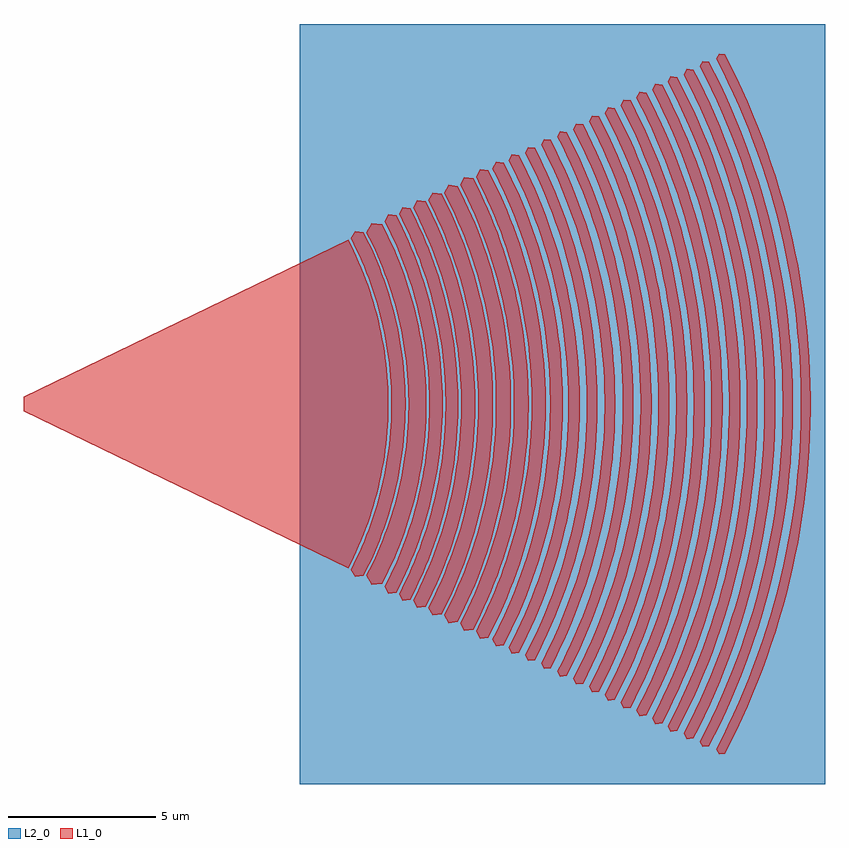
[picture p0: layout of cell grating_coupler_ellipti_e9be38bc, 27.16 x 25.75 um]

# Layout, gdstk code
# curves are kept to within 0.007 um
import gdstk
lib = gdstk.Library(unit=1e-6, precision=1e-09)
def R(c, l, rs):  # rectangles x0, y0, x1, y1
    for r in rs: c.add(gdstk.rectangle(r[:2], r[2:], *l))
def P(c, l, *ps):  # polygons
    for p in ps: c.add(gdstk.Polygon(p, *l))
L1_0 = (1, 0)
L2_0 = (2, 0)

grating_coupler_ellipti_ = lib.new_cell('grating_coupler_ellipti_e9be38bc')
P(grating_coupler_ellipti_, L1_0, [(11.468,-5.86),(11.327,-5.608),(11.517,-5.228),(11.693,-4.842),(12.004,-4.053),(12.259,-3.245),(12.412,-2.628),(12.533,-2.005),(12.622,-1.375),(12.677,-0.742),(12.7,-0.106),(12.688,0.529),(12.644,1.164),(12.567,1.795),(12.456,2.421),(12.365,2.835),(12.259,3.245),(12.004,4.053),(11.693,4.842),(11.517,5.228),(11.327,5.608),(11.468,5.86),(11.755,5.826),(11.951,5.434),(12.219,4.83),(12.456,4.213),(12.66,3.585),(12.778,3.16),(12.88,2.732),(12.969,2.3),(13.041,1.865),(13.098,1.429),(13.141,0.99),(13.168,0.551),(13.18,0.11),(13.176,-0.331),(13.157,-0.77),(13.122,-1.21),(13.072,-1.647),(13.007,-2.083),(12.926,-2.517),(12.831,-2.947),(12.721,-3.373),(12.528,-4.005),(12.381,-4.42),(12.133,-5.032),(11.854,-5.632),(11.755,-5.826)],
  [(12.035,-6.124),(11.857,-5.806),(12.054,-5.411),(12.236,-5.012),(12.404,-4.607),(12.558,-4.196),(12.698,-3.779),(12.823,-3.359),(13.028,-2.505),(13.142,-1.858),(13.222,-1.205),(13.268,-0.548),(13.28,-0.109),(13.268,0.548),(13.222,1.205),(13.142,1.858),(13.028,2.505),(12.823,3.359),(12.698,3.779),(12.558,4.196),(12.404,4.607),(12.236,5.012),(12.054,5.411),(11.857,5.806),(12.035,6.124),(12.397,6.082),(12.602,5.673),(12.882,5.042),(13.051,4.615),(13.276,3.963),(13.467,3.299),(13.574,2.852),(13.666,2.401),(13.742,1.948),(13.803,1.491),(13.847,1.034),(13.874,0.574),(13.886,0.115),(13.882,-0.345),(13.847,-1.034),(13.803,-1.491),(13.742,-1.948),(13.666,-2.401),(13.574,-2.852),(13.467,-3.299),(13.344,-3.742),(13.13,-4.398),(12.882,-5.042),(12.602,-5.673),(12.397,-6.082)],
  [(12.601,-6.421),(12.47,-6.185),(12.68,-5.766),(12.874,-5.341),(13.054,-4.908),(13.217,-4.471),(13.366,-4.027),(13.499,-3.579),(13.669,-2.898),(13.803,-2.211),(13.9,-1.516),(13.962,-0.817),(13.986,-0.117),(13.974,0.585),(13.925,1.283),(13.839,1.98),(13.718,2.67),(13.616,3.126),(13.499,3.579),(13.366,4.027),(13.217,4.471),(13.054,4.908),(12.874,5.341),(12.68,5.766),(12.47,6.185),(12.601,6.421),(12.87,6.391),(12.98,6.177),(13.189,5.74),(13.472,5.074),(13.72,4.393),(13.866,3.932),(13.995,3.466),(14.109,2.996),(14.205,2.523),(14.285,2.046),(14.348,1.568),(14.394,1.086),(14.424,0.603),(14.436,0.121),(14.432,-0.362),(14.412,-0.845),(14.373,-1.327),(14.318,-1.806),(14.247,-2.285),(14.158,-2.76),(14.054,-3.232),(13.933,-3.699),(13.796,-4.163),(13.559,-4.848),(13.286,-5.519),(12.98,-6.177),(12.87,-6.391)],
  [(13.086,-6.667),(12.96,-6.443),(13.178,-6.005),(13.38,-5.562),(13.654,-4.885),(13.817,-4.426),(13.962,-3.962),(14.092,-3.492),(14.207,-3.019),(14.345,-2.303),(14.447,-1.579),(14.511,-0.852),(14.536,-0.122),(14.524,0.609),(14.473,1.336),(14.384,2.061),(14.303,2.542),(14.207,3.019),(14.092,3.492),(13.962,3.962),(13.817,4.426),(13.654,4.885),(13.38,5.562),(13.178,6.005),(12.96,6.443),(13.086,6.667),(13.34,6.637),(13.564,6.189),(13.772,5.732),(14.054,5.035),(14.299,4.323),(14.441,3.842),(14.567,3.356),(14.675,2.866),(14.767,2.373),(14.841,1.877),(14.92,1.128),(14.95,0.627),(14.964,0.126),(14.959,-0.377),(14.937,-0.878),(14.897,-1.378),(14.841,-1.877),(14.767,-2.373),(14.675,-2.866),(14.567,-3.356),(14.441,-3.842),(14.299,-4.323),(14.054,-5.035),(13.772,-5.732),(13.564,-6.189),(13.34,-6.637)],
  [(13.576,-6.9),(13.436,-6.651),(13.661,-6.199),(13.87,-5.742),(14.152,-5.043),(14.32,-4.569),(14.471,-4.089),(14.606,-3.605),(14.723,-3.117),(14.866,-2.377),(14.972,-1.63),(15.037,-0.88),(15.063,-0.126),(15.059,0.377),(15.037,0.88),(14.972,1.63),(14.866,2.377),(14.723,3.117),(14.606,3.605),(14.471,4.089),(14.32,4.569),(14.152,5.043),(13.87,5.742),(13.661,6.199),(13.436,6.651),(13.576,6.9),(13.86,6.867),(13.977,6.637),(14.201,6.169),(14.505,5.452),(14.772,4.721),(14.927,4.225),(15.066,3.725),(15.187,3.219),(15.291,2.711),(15.376,2.199),(15.444,1.684),(15.494,1.167),(15.526,0.648),(15.539,0.13),(15.535,-0.389),(15.513,-0.908),(15.472,-1.426),(15.413,-1.942),(15.336,-2.455),(15.241,-2.966),(15.129,-3.472),(14.999,-3.976),(14.772,-4.721),(14.598,-5.209),(14.408,-5.693),(14.091,-6.405),(13.86,-6.867)],
  [(14.1,-7.158),(13.952,-6.894),(14.296,-6.191),(14.504,-5.713),(14.695,-5.228),(14.868,-4.737),(15.025,-4.24),(15.165,-3.738),(15.286,-3.231),(15.435,-2.463),(15.544,-1.689),(15.612,-0.912),(15.64,-0.13),(15.626,0.651),(15.572,1.431),(15.476,2.206),(15.34,2.976),(15.227,3.485),(15.097,3.99),(14.949,4.49),(14.784,4.983),(14.601,5.471),(14.401,5.953),(14.186,6.427),(13.952,6.894),(14.1,7.158),(14.4,7.124),(14.522,6.885),(14.754,6.399),(15.069,5.655),(15.346,4.897),(15.507,4.382),(15.651,3.864),(15.778,3.341),(15.884,2.812),(15.974,2.282),(16.044,1.747),(16.096,1.21),(16.128,0.673),(16.142,0.134),(16.137,-0.404),(16.114,-0.942),(16.072,-1.479),(16.011,-2.014),(15.931,-2.547),(15.834,-3.076),(15.717,-3.603),(15.581,-4.124),(15.346,-4.897),(15.069,-5.655),(14.754,-6.399),(14.522,-6.885),(14.4,-7.124)],
  [(14.639,-7.419),(14.489,-7.152),(14.732,-6.667),(14.956,-6.175),(15.164,-5.676),(15.354,-5.169),(15.605,-4.398),(15.749,-3.877),(15.875,-3.352),(16.031,-2.556),(16.144,-1.753),(16.214,-0.945),(16.242,-0.135),(16.228,0.676),(16.195,1.215),(16.144,1.753),(16.031,2.556),(15.875,3.352),(15.749,3.877),(15.605,4.398),(15.354,5.169),(15.164,5.676),(14.956,6.175),(14.732,6.667),(14.489,7.152),(14.639,7.419),(14.943,7.384),(15.069,7.137),(15.424,6.379),(15.638,5.862),(15.925,5.076),(16.093,4.544),(16.243,4.005),(16.373,3.462),(16.485,2.916),(16.577,2.365),(16.65,1.811),(16.703,1.255),(16.738,0.698),(16.752,0.139),(16.748,-0.418),(16.724,-0.977),(16.679,-1.533),(16.616,-2.088),(16.533,-2.64),(16.431,-3.189),(16.31,-3.734),(16.171,-4.275),(15.925,-5.076),(15.738,-5.602),(15.534,-6.122),(15.192,-6.887),(14.943,-7.384)],
  [(15.177,-7.684),(15.032,-7.424),(15.284,-6.92),(15.517,-6.411),(15.732,-5.891),(15.929,-5.366),(16.19,-4.566),(16.34,-4.025),(16.471,-3.479),(16.632,-2.653),(16.75,-1.82),(16.823,-0.981),(16.852,-0.14),(16.837,0.702),(16.779,1.54),(16.676,2.377),(16.53,3.205),(16.408,3.752),(16.267,4.296),(16.108,4.833),(15.929,5.366),(15.732,5.891),(15.517,6.411),(15.284,6.92),(15.032,7.424),(15.177,7.684),(15.472,7.65),(15.603,7.393),(15.853,6.872),(16.192,6.073),(16.395,5.532),(16.664,4.706),(16.818,4.149),(16.953,3.587),(17.069,3.02),(17.164,2.449),(17.24,1.876),(17.296,1.301),(17.331,0.722),(17.346,0.144),(17.341,-0.433),(17.317,-1.011),(17.271,-1.588),(17.205,-2.164),(17.12,-2.735),(17.014,-3.303),(16.888,-3.868),(16.743,-4.428),(16.489,-5.257),(16.295,-5.803),(15.971,-6.607),(15.73,-7.134),(15.472,-7.65)],
  [(15.707,-7.945),(15.568,-7.696),(15.829,-7.174),(16.071,-6.645),(16.294,-6.107),(16.498,-5.563),(16.768,-4.732),(16.924,-4.173),(17.06,-3.607),(17.226,-2.751),(17.348,-1.886),(17.423,-1.018),(17.454,-0.145),(17.439,0.727),(17.404,1.308),(17.348,1.886),(17.226,2.751),(17.06,3.607),(16.924,4.173),(16.768,4.732),(16.498,5.563),(16.294,6.107),(16.071,6.645),(15.829,7.174),(15.568,7.696),(15.707,7.945),(15.99,7.912),(16.257,7.378),(16.505,6.835),(16.842,6.002),(17.042,5.438),(17.304,4.581),(17.454,4.001),(17.584,3.417),(17.694,2.829),(17.782,2.237),(17.85,1.643),(17.897,1.046),(17.928,0.149),(17.923,-0.448),(17.897,-1.046),(17.85,-1.643),(17.782,-2.237),(17.694,-2.829),(17.584,-3.417),(17.454,-4.001),(17.304,-4.581),(17.042,-5.438),(16.842,-6.002),(16.505,-6.835),(16.257,-7.378),(15.99,-7.912)],
  [(16.251,-8.2),(16.124,-7.972),(16.395,-7.432),(16.645,-6.884),(16.876,-6.327),(17.087,-5.763),(17.278,-5.191),(17.45,-4.613),(17.669,-3.736),(17.841,-2.849),(17.968,-1.955),(18.047,-1.054),(18.078,-0.151),(18.063,0.753),(18,1.654),(17.889,2.552),(17.789,3.146),(17.669,3.736),(17.45,4.613),(17.278,5.191),(17.087,5.763),(16.876,6.327),(16.645,6.884),(16.395,7.432),(16.124,7.972),(16.251,8.2),(16.51,8.17),(16.916,7.339),(17.163,6.772),(17.39,6.197),(17.692,5.321),(17.868,4.729),(18.023,4.131),(18.156,3.528),(18.269,2.921),(18.361,2.31),(18.458,1.388),(18.495,0.771),(18.512,0.155),(18.505,-0.464),(18.479,-1.08),(18.43,-1.696),(18.361,-2.31),(18.269,-2.921),(18.156,-3.528),(18.023,-4.131),(17.868,-4.729),(17.692,-5.321),(17.39,-6.197),(17.163,-6.772),(16.916,-7.339),(16.51,-8.17)],
  [(16.786,-8.455),(16.673,-8.252),(16.952,-7.693),(17.212,-7.125),(17.563,-6.258),(17.867,-5.373),(18.045,-4.775),(18.202,-4.172),(18.396,-3.257),(18.543,-2.333),(18.613,-1.712),(18.663,-1.091),(18.696,-0.156),(18.69,0.468),(18.663,1.091),(18.581,2.023),(18.45,2.949),(18.272,3.867),(18.045,4.775),(17.867,5.373),(17.67,5.965),(17.45,6.549),(17.212,7.125),(16.952,7.693),(16.673,8.252),(16.786,8.455),(17.017,8.428),(17.436,7.57),(17.691,6.986),(17.925,6.394),(18.237,5.489),(18.417,4.879),(18.578,4.262),(18.716,3.639),(18.832,3.013),(18.927,2.383),(19.027,1.432),(19.065,0.796),(19.082,0.16),(19.076,-0.478),(19.049,-1.115),(18.999,-1.75),(18.927,-2.383),(18.832,-3.013),(18.716,-3.639),(18.5,-4.571),(18.33,-5.185),(18.138,-5.792),(17.925,-6.394),(17.566,-7.279),(17.302,-7.859),(17.017,-8.428)],
  [(17.337,-8.703),(17.232,-8.514),(17.656,-7.645),(17.913,-7.055),(18.149,-6.456),(18.464,-5.544),(18.648,-4.927),(18.809,-4.304),(19.01,-3.359),(19.161,-2.406),(19.263,-1.447),(19.301,-0.804),(19.318,-0.161),(19.301,0.804),(19.234,1.767),(19.116,2.725),(19.01,3.359),(18.881,3.99),(18.731,4.616),(18.558,5.236),(18.364,5.85),(18.149,6.456),(17.787,7.351),(17.52,7.936),(17.232,8.514),(17.337,8.703),(17.552,8.678),(17.984,7.795),(18.245,7.193),(18.487,6.582),(18.808,5.652),(18.994,5.023),(19.233,4.068),(19.364,3.425),(19.472,2.779),(19.558,2.127),(19.621,1.475),(19.661,0.82),(19.678,0.163),(19.673,-0.492),(19.644,-1.147),(19.558,-2.127),(19.472,-2.779),(19.364,-3.425),(19.233,-4.068),(19.079,-4.706),(18.904,-5.338),(18.706,-5.964),(18.487,-6.582),(18.117,-7.495),(17.844,-8.092),(17.552,-8.678)],
  [(17.878,-8.971),(17.772,-8.784),(18.069,-8.188),(18.345,-7.583),(18.717,-6.66),(19.041,-5.719),(19.23,-5.082),(19.397,-4.44),(19.604,-3.466),(19.76,-2.483),(19.864,-1.492),(19.904,-0.829),(19.921,-0.166),(19.904,0.829),(19.835,1.823),(19.76,2.483),(19.661,3.14),(19.471,4.116),(19.23,5.082),(19.041,5.719),(18.831,6.348),(18.598,6.971),(18.345,7.583),(18.069,8.188),(17.772,8.784),(17.878,8.971),(18.092,8.946),(18.393,8.342),(18.673,7.727),(18.932,7.101),(19.169,6.468),(19.383,5.827),(19.576,5.178),(19.821,4.194),(19.956,3.532),(20.067,2.864),(20.156,2.193),(20.22,1.52),(20.262,0.845),(20.279,0.17),(20.262,-0.845),(20.22,-1.52),(20.156,-2.193),(20.067,-2.864),(19.956,-3.532),(19.821,-4.194),(19.662,-4.852),(19.482,-5.504),(19.279,-6.149),(19.053,-6.786),(18.673,-7.727),(18.393,-8.342),(18.092,-8.946)],
  [(18.429,-9.235),(18.326,-9.05),(18.632,-8.436),(18.916,-7.814),(19.3,-6.863),(19.529,-6.218),(19.734,-5.566),(19.917,-4.907),(20.077,-4.242),(20.272,-3.234),(20.415,-2.218),(20.505,-1.196),(20.54,-0.171),(20.523,0.854),(20.481,1.537),(20.415,2.218),(20.272,3.234),(20.077,4.242),(19.917,4.907),(19.734,5.566),(19.529,6.218),(19.3,6.863),(18.916,7.814),(18.632,8.436),(18.326,9.05),(18.429,9.235),(18.64,9.21),(19.098,8.273),(19.375,7.635),(19.63,6.987),(19.863,6.33),(20.168,5.331),(20.343,4.657),(20.494,3.977),(20.675,2.949),(20.765,2.258),(20.833,1.565),(20.875,0.87),(20.894,0.175),(20.887,-0.523),(20.857,-1.218),(20.802,-1.912),(20.723,-2.604),(20.62,-3.292),(20.494,-3.977),(20.259,-4.995),(20.072,-5.666),(19.863,-6.33),(19.506,-7.312),(19.24,-7.954),(18.95,-8.588),(18.64,-9.21)],
  [(18.969,-9.496),(18.86,-9.301),(19.022,-8.987),(19.325,-8.353),(19.605,-7.708),(19.864,-7.054),(20.208,-6.057),(20.407,-5.382),(20.583,-4.701),(20.803,-3.67),(20.969,-2.629),(21.079,-1.58),(21.122,-0.879),(21.14,-0.175),(21.122,0.879),(21.048,1.93),(20.969,2.629),(20.865,3.324),(20.662,4.36),(20.498,5.043),(20.31,5.72),(20.099,6.391),(19.864,7.054),(19.605,7.708),(19.325,8.353),(19.022,8.987),(18.86,9.301),(18.969,9.496),(19.192,9.471),(19.663,8.507),(19.949,7.85),(20.212,7.184),(20.562,6.169),(20.765,5.482),(21.026,4.44),(21.169,3.738),(21.287,3.033),(21.381,2.322),(21.449,1.61),(21.494,0.895),(21.512,0.179),(21.494,-0.895),(21.449,-1.61),(21.381,-2.322),(21.287,-3.033),(21.169,-3.738),(21.026,-4.44),(20.858,-5.137),(20.666,-5.826),(20.451,-6.509),(20.212,-7.184),(19.809,-8.18),(19.511,-8.831),(19.192,-9.471)],
  [(19.506,-9.771),(19.395,-9.573),(19.719,-8.924),(20.02,-8.266),(20.427,-7.26),(20.781,-6.234),(20.987,-5.539),(21.168,-4.84),(21.394,-3.777),(21.458,-3.422),(21.565,-2.706),(21.678,-1.626),(21.722,-0.904),(21.741,-0.181),(21.722,0.904),(21.647,1.987),(21.565,2.706),(21.458,3.422),(21.249,4.487),(21.081,5.191),(20.987,5.539),(20.781,6.234),(20.551,6.92),(20.297,7.598),(20.02,8.266),(19.719,8.924),(19.395,9.573),(19.506,9.771),(19.731,9.745),(20.061,9.088),(20.366,8.418),(20.649,7.736),(20.907,7.046),(21.141,6.348),(21.351,5.641),(21.619,4.569),(21.766,3.847),(21.888,3.12),(21.984,2.389),(22.054,1.656),(22.1,0.92),(22.119,0.185),(22.113,-0.553),(22.081,-1.289),(22.023,-2.023),(21.939,-2.756),(21.766,-3.847),(21.619,-4.569),(21.447,-5.285),(21.141,-6.348),(20.907,-7.046),(20.649,-7.736),(20.366,-8.418),(20.061,-9.088),(19.731,-9.745)],
  [(20.045,-10.05),(19.934,-9.853),(20.424,-8.847),(20.721,-8.164),(20.994,-7.471),(21.242,-6.769),(21.466,-6.059),(21.756,-4.98),(21.988,-3.888),(22.111,-3.153),(22.208,-2.415),(22.305,-1.302),(22.325,-0.931),(22.344,-0.186),(22.325,0.931),(22.279,1.674),(22.208,2.415),(22.111,3.153),(22.052,3.521),(21.988,3.888),(21.839,4.617),(21.665,5.342),(21.466,6.059),(21.242,6.769),(20.994,7.471),(20.721,8.164),(20.424,8.847),(19.934,9.853),(20.045,10.05),(20.27,10.023),(20.768,9.003),(21.069,8.308),(21.348,7.603),(21.717,6.529),(21.933,5.802),(22.122,5.068),(22.286,4.329),(22.424,3.583),(22.536,2.834),(22.655,1.704),(22.701,0.947),(22.722,0.19),(22.714,-0.568),(22.681,-1.326),(22.622,-2.081),(22.536,-2.834),(22.424,-3.583),(22.286,-4.329),(22.031,-5.436),(21.828,-6.167),(21.477,-7.247),(21.211,-7.957),(20.921,-8.657),(20.607,-9.347),(20.27,-10.023)],
  [(20.579,-10.314),(20.467,-10.115),(20.809,-9.428),(21.126,-8.733),(21.555,-7.669),(21.929,-6.586),(22.146,-5.853),(22.337,-5.113),(22.503,-4.366),(22.575,-3.991),(22.642,-3.615),(22.755,-2.858),(22.875,-1.718),(22.921,-0.956),(22.941,-0.191),(22.921,0.956),(22.875,1.718),(22.801,2.48),(22.642,3.615),(22.503,4.366),(22.423,4.74),(22.146,5.853),(21.929,6.586),(21.686,7.311),(21.418,8.026),(21.126,8.733),(20.809,9.428),(20.467,10.115),(20.579,10.314),(20.805,10.287),(21.151,9.592),(21.474,8.885),(21.772,8.166),(22.044,7.437),(22.291,6.7),(22.512,5.955),(22.707,5.201),(22.875,4.442),(23.077,3.293),(23.179,2.522),(23.253,1.748),(23.301,0.972),(23.321,0.195),(23.314,-0.583),(23.281,-1.361),(23.179,-2.522),(23.077,-3.293),(22.949,-4.061),(22.793,-4.822),(22.612,-5.579),(22.512,-5.955),(22.291,-6.7),(22.044,-7.437),(21.772,-8.166),(21.474,-8.885),(21.151,-9.592),(20.805,-10.287)],
  [(21.108,-10.577),(20.997,-10.378),(21.349,-9.674),(21.674,-8.96),(22.115,-7.869),(22.378,-7.131),(22.614,-6.382),(22.919,-5.246),(23.164,-4.095),(23.233,-3.709),(23.349,-2.933),(23.472,-1.763),(23.519,-0.98),(23.54,-0.196),(23.533,0.588),(23.499,1.371),(23.472,1.763),(23.396,2.544),(23.349,2.933),(23.233,3.709),(23.007,4.864),(22.824,5.626),(22.614,6.382),(22.378,7.131),(22.25,7.501),(21.974,8.235),(21.674,8.96),(21.349,9.674),(20.997,10.378),(21.108,10.577),(21.335,10.55),(21.691,9.838),(22.022,9.112),(22.328,8.375),(22.608,7.629),(22.861,6.871),(23.088,6.107),(23.192,5.722),(23.379,4.946),(23.538,4.165),(23.67,3.378),(23.774,2.586),(23.85,1.793),(23.899,0.996),(23.92,0.2),(23.913,-0.598),(23.879,-1.395),(23.774,-2.586),(23.67,-3.378),(23.538,-4.165),(23.379,-4.946),(23.192,-5.722),(22.978,-6.49),(22.608,-7.629),(22.328,-8.375),(22.022,-9.112),(21.691,-9.838),(21.335,-10.55)],
  [(21.646,-10.843),(21.533,-10.642),(21.717,-10.282),(22.063,-9.556),(22.384,-8.819),(22.679,-8.07),(22.947,-7.311),(23.189,-6.545),(23.502,-5.379),(23.592,-4.988),(23.752,-4.199),(23.822,-3.803),(23.941,-3.008),(24.032,-2.209),(24.067,-1.808),(24.116,-1.004),(24.138,-0.201),(24.131,0.603),(24.116,1.004),(24.067,1.808),(24.032,2.209),(23.941,3.008),(23.885,3.406),(23.752,4.199),(23.592,4.988),(23.404,5.769),(23.189,6.545),(22.947,7.311),(22.679,8.07),(22.384,8.819),(22.063,9.556),(21.717,10.282),(21.533,10.642),(21.646,10.843),(21.875,10.816),(22.239,10.085),(22.578,9.342),(22.891,8.586),(23.178,7.82),(23.437,7.045),(23.669,6.26),(23.874,5.469),(24.051,4.67),(24.2,3.867),(24.321,3.058),(24.414,2.245),(24.449,1.838),(24.498,1.022),(24.52,0.205),(24.513,-0.613),(24.477,-1.43),(24.414,-2.245),(24.321,-3.058),(24.2,-3.867),(24.051,-4.67),(23.874,-5.469),(23.774,-5.865),(23.557,-6.653),(23.178,-7.82),(22.891,-8.586),(22.578,-9.342),(22.239,-10.085),(21.875,-10.816)],
  [(22.171,-11.101),(22.064,-10.91),(22.434,-10.17),(22.608,-9.797),(22.937,-9.041),(23.241,-8.274),(23.515,-7.496),(23.765,-6.71),(23.879,-6.313),(24.085,-5.515),(24.178,-5.114),(24.343,-4.306),(24.537,-3.084),(24.63,-2.265),(24.695,-1.442),(24.731,-0.618),(24.738,-0.206),(24.731,0.618),(24.695,1.442),(24.63,2.265),(24.587,2.674),(24.537,3.084),(24.414,3.899),(24.343,4.306),(24.178,5.114),(23.985,5.915),(23.765,6.71),(23.515,7.496),(23.241,8.274),(22.937,9.041),(22.608,9.797),(22.434,10.17),(22.064,10.91),(22.171,11.101),(22.388,11.076),(22.762,10.328),(23.11,9.566),(23.43,8.793),(23.725,8.008),(23.991,7.214),(24.229,6.411),(24.439,5.601),(24.534,5.192),(24.701,4.372),(24.839,3.546),(24.949,2.716),(25.028,1.882),(25.08,1.046),(25.102,0.21),(25.095,-0.628),(25.059,-1.464),(24.949,-2.716),(24.839,-3.546),(24.701,-4.372),(24.534,-5.192),(24.337,-6.007),(24.229,-6.411),(23.991,-7.214),(23.725,-8.008),(23.43,-8.793),(23.11,-9.566),(22.762,-10.328),(22.388,-11.076)],
  [(22.713,-11.349),(22.605,-11.156),(22.983,-10.401),(23.161,-10.019),(23.498,-9.246),(23.808,-8.46),(24.09,-7.666),(24.344,-6.862),(24.569,-6.049),(24.671,-5.64),(24.766,-5.229),(24.935,-4.402),(25.009,-3.988),(25.133,-3.153),(25.229,-2.315),(25.266,-1.895),(25.317,-1.054),(25.339,-0.21),(25.332,0.632),(25.317,1.054),(25.266,1.895),(25.229,2.315),(25.133,3.153),(25.009,3.988),(24.766,5.229),(24.569,6.049),(24.344,6.862),(24.09,7.666),(23.808,8.46),(23.498,9.246),(23.161,10.019),(22.983,10.401),(22.605,11.156),(22.713,11.349),(22.933,11.324),(23.315,10.559),(23.671,9.781),(23.998,8.99),(24.298,8.187),(24.57,7.375),(24.814,6.554),(24.925,6.141),(25.126,5.309),(25.297,4.47),(25.438,3.625),(25.55,2.777),(25.632,1.925),(25.685,1.07),(25.707,0.214),(25.7,-0.642),(25.663,-1.497),(25.595,-2.351),(25.55,-2.777),(25.438,-3.625),(25.297,-4.47),(25.126,-5.309),(24.925,-6.141),(24.696,-6.966),(24.438,-7.782),(24.152,-8.59),(23.671,-9.781),(23.315,-10.559),(22.933,-11.324)],
  [(23.254,-11.618),(23.153,-11.438),(23.54,-10.663),(23.724,-10.27),(24.068,-9.478),(24.386,-8.674),(24.534,-8.268),(24.809,-7.447),(25.054,-6.619),(25.272,-5.782),(25.369,-5.361),(25.542,-4.514),(25.685,-3.661),(25.797,-2.803),(25.881,-1.944),(25.91,-1.513),(25.933,-1.08),(25.956,-0.216),(25.956,0.216),(25.933,1.08),(25.881,1.944),(25.843,2.373),(25.685,3.661),(25.542,4.514),(25.369,5.361),(25.167,6.201),(24.935,7.034),(24.675,7.858),(24.386,8.674),(24.068,9.478),(23.724,10.27),(23.54,10.663),(23.153,11.438),(23.254,11.618),(23.459,11.594),(23.85,10.811),(24.215,10.014),(24.551,9.203),(24.858,8.382),(25.137,7.551),(25.386,6.711),(25.606,5.862),(25.705,5.435),(25.88,4.576),(26.025,3.711),(26.139,2.843),(26.223,1.97),(26.277,1.096),(26.3,0.22),(26.292,-0.658),(26.254,-1.533),(26.185,-2.407),(26.086,-3.277),(26.025,-3.711),(25.88,-4.576),(25.705,-5.435),(25.499,-6.287),(25.265,-7.132),(25.001,-7.968),(24.708,-8.794),(24.386,-9.61),(24.036,-10.414),(23.658,-11.205),(23.459,-11.594)],
  [(23.803,-11.873),(23.706,-11.7),(24.102,-10.907),(24.289,-10.506),(24.642,-9.695),(24.967,-8.872),(25.262,-8.038),(25.529,-7.195),(25.766,-6.343),(25.873,-5.914),(26.065,-5.051),(26.226,-4.182),(26.357,-3.306),(26.411,-2.868),(26.496,-1.988),(26.527,-1.547),(26.566,-0.664),(26.574,-0.222),(26.566,0.664),(26.527,1.547),(26.496,1.988),(26.411,2.868),(26.357,3.306),(26.226,4.182),(26.065,5.051),(25.972,5.483),(25.873,5.914),(25.651,6.771),(25.529,7.195),(25.262,8.038),(24.967,8.872),(24.642,9.695),(24.469,10.102),(24.102,10.907),(23.706,11.7),(23.803,11.873),(24,11.85),(24.204,11.452),(24.591,10.644),(24.948,9.821),(25.277,8.988),(25.576,8.144),(25.847,7.289),(26.086,6.427),(26.296,5.555),(26.475,4.677),(26.623,3.794),(26.685,3.35),(26.787,2.46),(26.826,2.014),(26.88,1.119),(26.904,0.224),(26.896,-0.672),(26.857,-1.567),(26.787,-2.46),(26.685,-3.35),(26.623,-3.794),(26.475,-4.677),(26.296,-5.555),(26.086,-6.427),(25.847,-7.289),(25.576,-8.144),(25.277,-8.988),(24.948,-9.821),(24.591,-10.644),(24.204,-11.452),(24,-11.85)],
  [(11.238,-5.567),(0.24,-0.25),(0.24,0.25),(11.238,5.567),(11.6,4.808),(11.836,4.222),(12.042,3.626),(12.267,2.815),(12.398,2.197),(12.497,1.574),(12.578,0.736),(12.6,0.105),(12.596,-0.316),(12.578,-0.736),(12.522,-1.365),(12.435,-1.99),(12.358,-2.404),(12.267,-2.815),(12.042,-3.626),(11.836,-4.222),(11.6,-4.808)])
R(grating_coupler_ellipti_, L2_0, [(9.6,-12.873,27.404,12.873)])

lib.write_gds('grating_coupler_ellipti_e9be38bc.gds')
